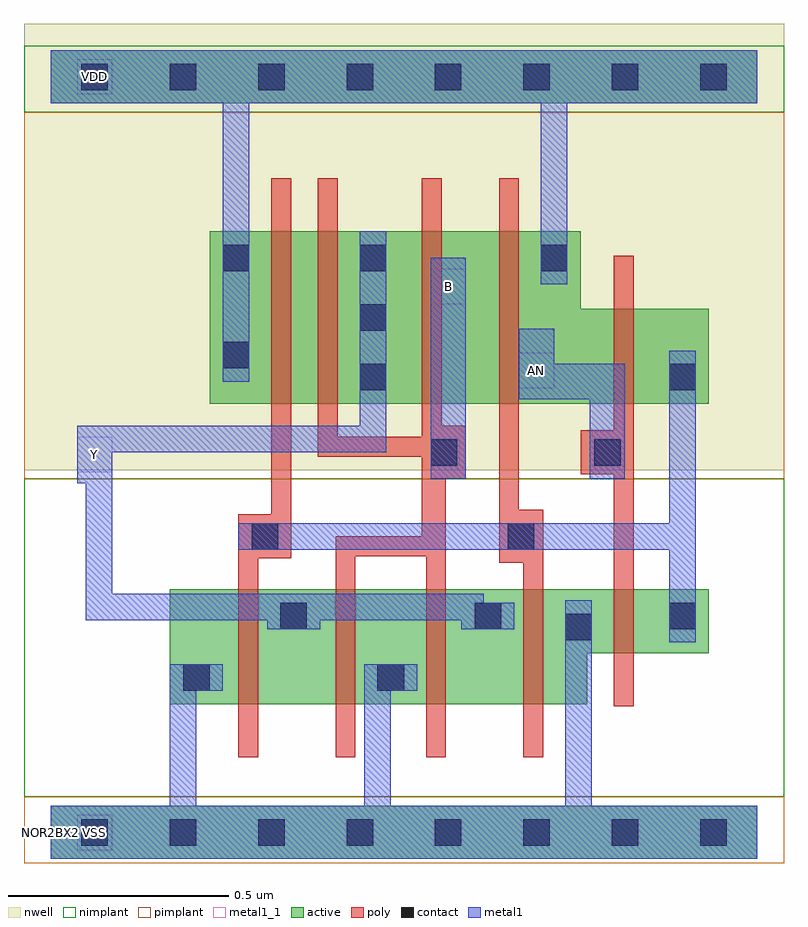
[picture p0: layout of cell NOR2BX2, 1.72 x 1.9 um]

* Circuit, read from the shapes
.subckt NOR2BX2 AN B VDD VSS Y
M1 Y n1 VSS VSS nfet w=0.26u l=0.045u m=2
M2 VSS B Y VSS nfet w=0.26u l=0.045u m=2
M3 n1 AN VSS VSS nfet w=0.145u l=0.045u
M4 n2 n1 VDD VDD pfet w=0.39u l=0.045u
M5 Y B n2 VDD pfet w=0.39u l=0.045u
M6 n3 B Y VDD pfet w=0.39u l=0.045u
M7 VDD n1 n3 VDD pfet w=0.39u l=0.045u
M8 n1 AN VDD VDD pfet w=0.215u l=0.045u
.ends

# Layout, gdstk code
import gdstk
lib = gdstk.Library(unit=1e-6, precision=5e-10)
def R(c, l, rs):  # rectangles x0, y0, x1, y1
    for r in rs: c.add(gdstk.rectangle(r[:2], r[2:], *l))
def A(c, l, x, y, w, h, nx, ny, dx, dy):  # array of equal rectangles
    R(c, l, [(x+i*dx, y+j*dy, x+i*dx+w, y+j*dy+h) for i in range(nx) for j in range(ny)])
def P(c, l, *ps):  # polygons
    for p in ps: c.add(gdstk.Polygon(p, *l))
active = (1, 0)
nwell = (2, 0)
poly = (3, 0)
nimplant = (4, 0)
pimplant = (5, 0)
contact = (6, 0)
metal1 = (7, 0)
metal1_1 = (7, 1)

nor2bx2 = lib.new_cell('NOR2BX2')
R(nor2bx2, active, [(0,-0.06,1.6,0.06), (0,1.65,1.6,1.77)])
P(nor2bx2, active, [(0.36,1.36),(1.2,1.36),(1.2,1.185),(1.49,1.185),(1.49,0.97),(0.36,0.97)],
  [(0.27,0.55),(1.49,0.55),(1.49,0.405),(1.215,0.405),(1.215,0.29),(0.27,0.29)])
R(nor2bx2, nwell, [(-0.06,0.82,1.66,1.83)])
P(nor2bx2, poly, [(0.5,1.48),(0.545,1.48),(0.545,0.62),(0.47,0.62),(0.47,0.17),(0.425,0.17),(0.425,0.72),(0.5,0.72)],
  [(0.605,1.48),(0.65,1.48),(0.65,0.895),(0.84,0.895),(0.84,1.48),(0.885,1.48),(0.885,0.92),(0.94,0.92),(0.94,0.8),(0.895,0.8),(0.895,0.17),(0.85,0.17),(0.85,0.625),(0.69,0.625),(0.69,0.17),(0.645,0.17),(0.645,0.67),(0.84,0.67),(0.84,0.85),(0.605,0.85)],
  [(1.015,1.48),(1.06,1.48),(1.06,0.73),(1.115,0.73),(1.115,0.17),(1.07,0.17),(1.07,0.61),(1.015,0.61)],
  [(1.275,1.305),(1.32,1.305),(1.32,0.285),(1.275,0.285),(1.275,0.81),(1.2,0.81),(1.2,0.91),(1.275,0.91)])
R(nor2bx2, nimplant, [(-0.06,0.08,1.66,0.8), (-0.06,1.63,1.66,1.78)])
R(nor2bx2, pimplant, [(-0.06,-0.07,1.66,0.08), (-0.06,0.8,1.66,1.63)])
A(nor2bx2, contact, 0.07, -0.03, 0.06, 0.06, 8, 2, 0.2, 1.71)
A(nor2bx2, contact, 0.52, 0.46, 0.06, 0.06, 3, 1, 0.44, 0)
A(nor2bx2, contact, 0.7, 1, 0.06, 0.06, 1, 3, 0, 0.135)
R(nor2bx2, contact, [(0.3,0.32,0.36,0.38), (0.74,0.32,0.8,0.38), (1.165,0.435,1.225,0.495), (0.455,0.64,0.515,0.7), (1.035,0.64,1.095,0.7), (0.86,0.83,0.92,0.89), (1.23,0.83,1.29,0.89), (1.4,1,1.46,1.06), (0.39,1.05,0.45,1.11), (0.39,1.27,0.45,1.33), (1.11,1.27,1.17,1.33)])
R(nor2bx2, metal1, [(0.86,0.8,0.94,1.3)])
P(nor2bx2, metal1, [(0,1.77),(1.6,1.77),(1.6,1.65),(1.17,1.65),(1.17,1.24),(1.11,1.24),(1.11,1.65),(0.45,1.65),(0.45,1.02),(0.39,1.02),(0.39,1.65),(0,1.65)],
  [(0.7,1.36),(0.76,1.36),(0.76,0.86),(0.14,0.86),(0.14,0.54),(0.98,0.54),(0.98,0.52),(1.05,0.52),(1.05,0.46),(0.93,0.46),(0.93,0.48),(0.61,0.48),(0.61,0.46),(0.49,0.46),(0.49,0.48),(0.08,0.48),(0.08,0.79),(0.06,0.79),(0.06,0.92),(0.7,0.92)],
  [(1.4,1.09),(1.46,1.09),(1.46,0.43),(1.4,0.43),(1.4,0.64),(0.425,0.64),(0.425,0.7),(1.4,0.7)],
  [(1.06,1.14),(1.14,1.14),(1.14,1.06),(1.3,1.06),(1.3,0.8),(1.22,0.8),(1.22,0.98),(1.06,0.98)],
  [(0.27,0.38),(0.39,0.38),(0.39,0.32),(0.33,0.32),(0.33,0.06),(0.71,0.06),(0.71,0.38),(0.83,0.38),(0.83,0.32),(0.77,0.32),(0.77,0.06),(1.165,0.06),(1.165,0.525),(1.225,0.525),(1.225,0.06),(1.6,0.06),(1.6,-0.06),(0,-0.06),(0,0.06),(0.27,0.06)])
A(nor2bx2, metal1_1, 0.06, -0.04, 0.08, 0.08, 1, 3, 0, 0.855)
R(nor2bx2, metal1_1, [(1.06,1.005,1.14,1.085), (0.86,1.195,0.94,1.275)])
nor2bx2.add(gdstk.Label('Y', (0.1,0.855), layer=7, texttype=1))
nor2bx2.add(gdstk.Label('AN', (1.1,1.045), layer=7, texttype=1))
nor2bx2.add(gdstk.Label('B', (0.9,1.235), layer=7, texttype=1))
nor2bx2.add(gdstk.Label('VDD', (0.1,1.71), layer=7, texttype=1))
nor2bx2.add(gdstk.Label('VSS', (0.1,0), layer=7, texttype=1))
nor2bx2.add(gdstk.Label('NOR2BX2', (0,0), layer=63, texttype=0))

lib.write_gds('NOR2BX2.gds')
